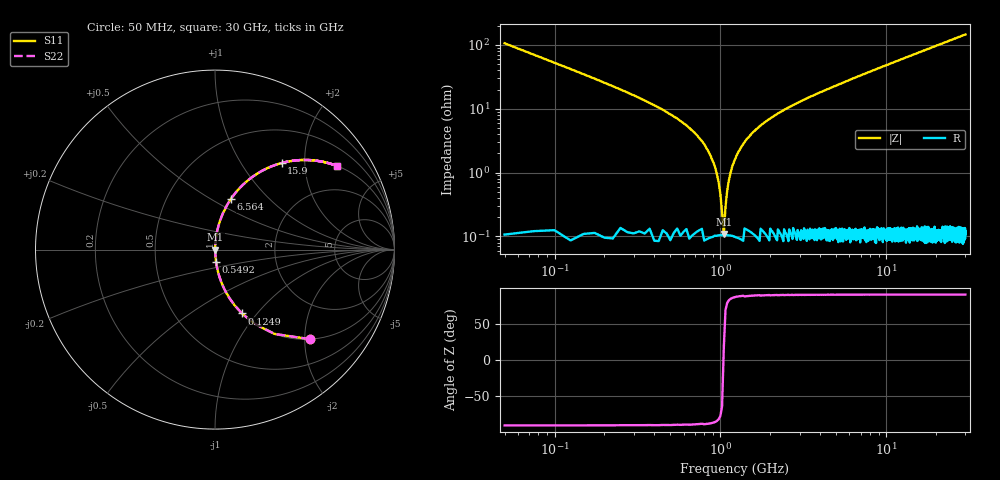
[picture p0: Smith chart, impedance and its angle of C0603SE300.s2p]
!	AVX Thin Film Operation 	Date: April 2014
!	Description: Accu-P® Series, Thin Film  SMD RF Capacitor
!	Part Number: 06033K300FBSTR
# MHZ S MA R 50
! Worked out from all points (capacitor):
!   1201 points, 50 MHz to 30 GHz, reference 50 ohm
!   read as one part in series: C = 30 pF near 199.8 MHz
!   lowest |Z| = 110 mohm at 1.048 GHz (marker M1)
!   series resonance near 1.045 GHz, so ESL is about 770 pH
!   S11 on the Smith chart (normalised r, x): 50 MHz: 1.00, -2.12; 124.9 MHz: 1.00, -0.84; 549.2 MHz: 1.00, -0.14; 6.564 GHz: 1.00, +0.62; 15.9 GHz: 1.00, +1.54; 30 GHz: 1.00, +2.91
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50  0.727 -43.3  0.686 46.6  0.686 46.6  0.727 -43.3
124.875  0.386 -67.1  0.922 22.7  0.922 22.7  0.386 -67.1
274.625  0.177 -79.5  0.983 10.2  0.983 10.2  0.177 -79.5
549.167  0.07 -85.1  0.996 4.0  0.996 4.0  0.07 -85.1
798.75  0.028 -86.1  0.999 1.6  0.999 1.6  0.028 -86.1
948.5  0.009914 -83.1  0.999 0.6  0.999 0.6  0.009914 -83.1
1048.333  0.001142 15.8  0.999 -0.0  0.999 -0.0  0.001142 15.8
1148.167  0.009612 82.9  0.999 -0.5  0.999 -0.5  0.009612 82.9
1272.958  0.02 85.7  0.999 -1.2  0.999 -1.2  0.02 85.7
1422.708  0.032 86.2  0.998 -1.8  0.998 -1.8  0.032 86.2
1672.292  0.049 85.9  0.998 -2.8  0.998 -2.8  0.049 85.9
1996.75  0.07 85.1  0.996 -4.0  0.996 -4.0  0.07 85.1
2495.917  0.099 83.7  0.994 -5.7  0.994 -5.7  0.099 83.7
3144.833  0.134 81.8  0.99 -7.7  0.99 -7.7  0.134 81.8
5041.667  0.228 76.6  0.973 -13.2  0.973 -13.2  0.228 76.6
6564.125  0.296 72.6  0.954 -17.2  0.954 -17.2  0.296 72.6
10058.29  0.435 64.1  0.9 -25.8  0.9 -25.8  0.435 64.1
15025  0.587 54.0  0.809 -36.0  0.809 -36.0  0.587 54.0
15898.54  0.609 52.4  0.792 -37.5  0.792 -37.5  0.609 52.4
20016.67  0.696 45.9  0.718 -44.1  0.718 -44.1  0.696 45.9
25033.29  0.771 39.5  0.636 -50.5  0.636 -50.5  0.771 39.5
30000  0.824 34.5  0.566 -55.5  0.566 -55.5  0.824 34.5
